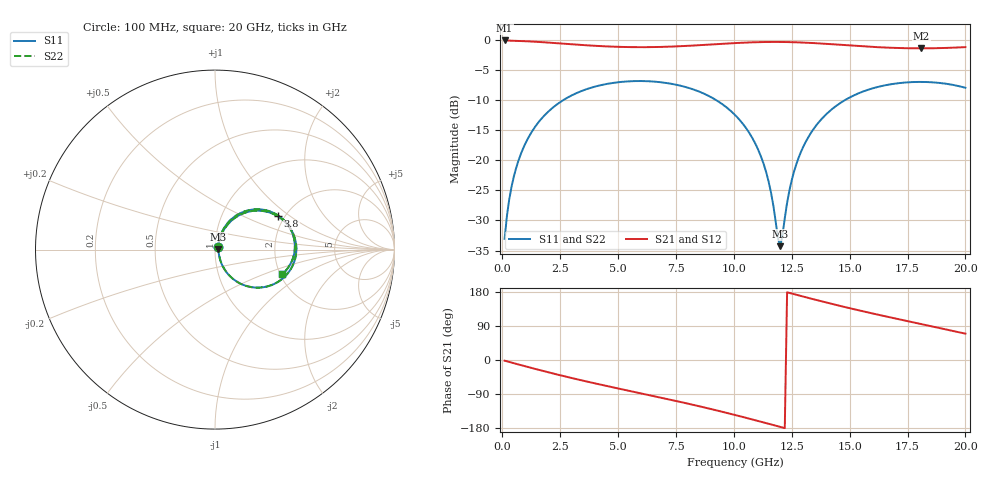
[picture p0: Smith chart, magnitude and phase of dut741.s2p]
! Touchstone file exported from HFSS 2026.1.0
!  File:  C:/ffzhzh/LocalFiles/Ansys_Project_Files/temp_train_TSV_RDL_741_1783204755_43440.aedt
!  Generated:  06:54:13 AM Jul  5, 2026
!  Design:  TSV_RDL
!  Project:  temp_train_TSV_RDL_741_1783204755_43440
! Variables:
!  h_bsmrdl = 2.91um
!  h_ox = 20um
!  h_rdl = 5um
!  h_sub = 92.76um
!  h_tmrdl = 4.51um
!  h_tsv = 92.76um
!  h_via = 3um
!  l_bsmrdl = 258.98um
!  l_sub = 4897.21um
!  l_tmrdl = 889.14um
!  m_sub = 200um
!  pitch = 50.89um
!  r_tsv = 7.96um
!  s_tmrdl = 10um
!  w_bsmrdl = 27.58um
!  w_sub = 500um
!  w_tmrdl = 26.99um
!  x_tsv_center1 = 902.635um
!  x_tsv_center2 = 1189.195um
!  x_tsv_center3 = 2105.325um
!  x_tsv_center4 = 2391.885um
!  x_tsv_center5 = 3308.015um
!  x_tsv_center6 = 3594.575um
# GHz S MA R 50.000000
! Terminal data exported
! Port[1] = TM_RDL1_1_T1
! Port[2] = TM_RDL5_1_T1
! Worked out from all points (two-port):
!   200 points, 100 MHz to 20 GHz, reference 50 ohm
!   highest |S21| = -0.14 dB at 100 MHz (marker M1); lowest = -1.4 dB at 18.1 GHz (marker M2)
!   |S21| within 3 dB of the highest: start of sweep to end of sweep
!   lowest |S11| = -34.3 dB at 12 GHz (marker M3), VSWR 1.04, Z = 52 + j0.153 ohm
!   |S11| at or under -10 dB: start of sweep to 2.649 GHz; 9.222 GHz to 14.81 GHz (5.593 GHz wide, 46.5 % of centre)
!   |S22| runs from -34.2 to -6.9 dB; largest |S21 - S12| = 1.7e-14
!   S11 on the Smith chart (normalised r, x): 100 MHz: 1.03, +0.03; 3.8 GHz: 1.85, +0.81; 20 GHz: 2.05, -0.67
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0.1  0.02224 42.2  0.9839 -1.8  0.9839 -1.8  0.02224 42.2
! Gamma 0 0 0 0
! Port Impedance 50 0 50 0
0.3  0.04734 62.5  0.9811 -5.2  0.9811 -5.2  0.04734 62.5
0.5  0.07336 66.4  0.9784 -8.5  0.9784 -8.5  0.07336 66.4
1.1  0.1506 63.7  0.9679 -18.3  0.9679 -18.3  0.1506 63.7
2.1  0.2646 50.9  0.9416 -34.2  0.9416 -34.2  0.2646 50.9
3.5  0.3796 31.8  0.9006 -54.7  0.9006 -54.7  0.3796 31.8
3.8  0.3971 27.8  0.893 -58.9  0.893 -58.9  0.3971 27.8
5.3  0.4486 8.5  0.8681 -79.0  0.8681 -79.0  0.4486 8.5
6.8  0.444 -10.4  0.8692 -98.7  0.8692 -98.7  0.444 -10.4
8.5  0.3706 -32.4  0.8985 -121.9  0.8985 -121.9  0.3705 -32.4
10.1  0.232 -53.8  0.9367 -145.8  0.9367 -145.8  0.2319 -53.8
10.8  0.1526 -62.1  0.9494 -156.9  0.9494 -156.9  0.1525 -62.1
11.3  0.09144 -65.1  0.9548 -165.0  0.9548 -165.0  0.09143 -65.0
11.6  0.05449 -61.3  0.9563 -169.9  0.9563 -169.9  0.05451 -61.1
12  0.01937 4.4  0.9561 -176.5  0.9561 -176.5  0.01952 4.4
12.3  0.04426 60.9  0.9543 178.6  0.9543 178.6  0.04436 60.7
12.6  0.08056 68.2  0.9512 173.8  0.9512 173.8  0.08063 68.0
13.4  0.1765 63.3  0.9368 160.9  0.9368 160.9  0.1765 63.2
14.8  0.3151 45.4  0.9001 139.6  0.9001 139.6  0.3151 45.3
16.7  0.4238 20.9  0.8569 113.2  0.8569 113.2  0.4238 20.8
18.1  0.4457 3.5  0.8463 94.8  0.8463 94.8  0.4457 3.5
20  0.3986 -20.1  0.8662 69.5  0.8662 69.5  0.3985 -20.1
